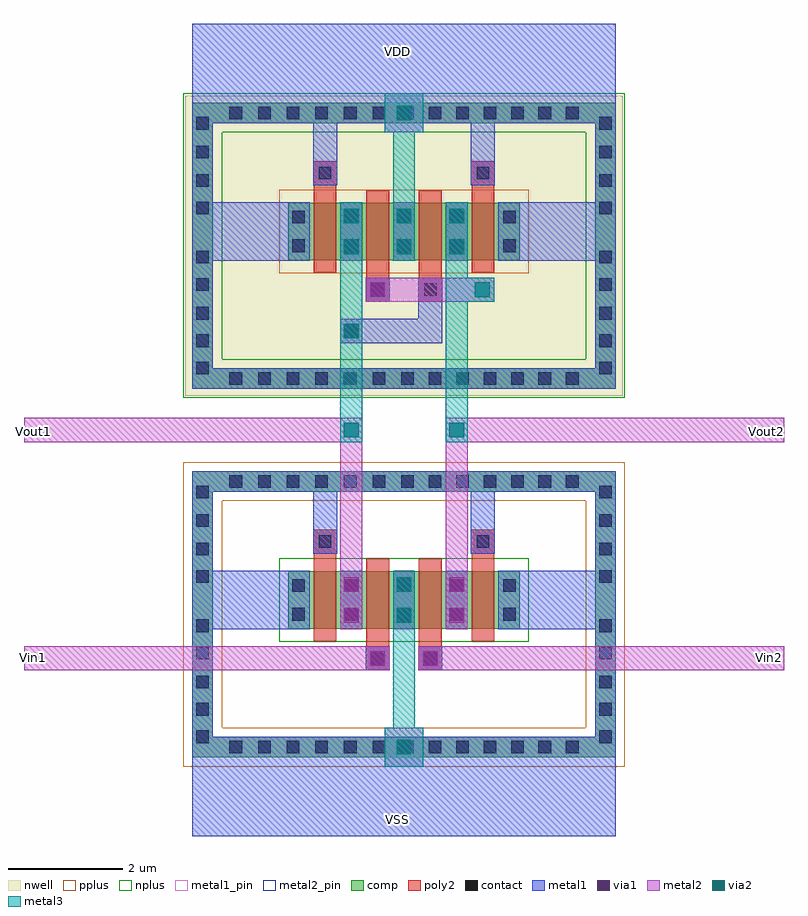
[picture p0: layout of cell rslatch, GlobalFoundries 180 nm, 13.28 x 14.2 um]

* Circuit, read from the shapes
.subckt rslatch VDD VSS Vin1 Vin2 Vout1 Vout2
XM1 Vout1 VSS VSS VSS nfet_03v3 w=1u l=0.4u
XM2 VSS Vin1 Vout1 VSS nfet_03v3 w=1u l=0.4u
XM3 Vout2 Vin2 VSS VSS nfet_03v3 w=1u l=0.4u
XM4 VSS VSS Vout2 VSS nfet_03v3 w=1u l=0.4u
XM5 Vout1 VDD VDD VDD pfet_03v3 w=1u l=0.4u
XM6 VDD Vout2 Vout1 VDD pfet_03v3 w=1u l=0.4u
XM7 Vout2 Vout1 VDD VDD pfet_03v3 w=1u l=0.4u
XM8 VDD VDD Vout2 VDD pfet_03v3 w=1u l=0.4u
.ends

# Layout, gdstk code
import gdstk
lib = gdstk.Library(unit=1e-6, precision=1e-09)
def R(c, l, rs):  # rectangles x0, y0, x1, y1
    for r in rs: c.add(gdstk.rectangle(r[:2], r[2:], *l))
def A(c, l, x, y, w, h, nx, ny, dx, dy):  # array of equal rectangles
    R(c, l, [(x+i*dx, y+j*dy, x+i*dx+w, y+j*dy+h) for i in range(nx) for j in range(ny)])
def P(c, l, *ps):  # polygons
    for p in ps: c.add(gdstk.Polygon(p, *l))
nwell = (21, 0)
comp = (22, 0)
poly2 = (30, 0)
pplus = (31, 0)
nplus = (32, 0)
contact = (33, 0)
metal1 = (34, 0)
metal1_pin = (34, 10)
via1 = (35, 0)
metal2 = (36, 0)
metal2_pin = (36, 10)
via2 = (38, 0)
metal3 = (42, 0)

pfet = lib.new_cell('pfet')
R(pfet, nwell, [(-0.43,-0.43,4.47,1.43)])
R(pfet, comp, [(0,0,4.04,1)])
A(pfet, poly2, 0.44, -0.22, 0.4, 1.44, 4, 1, 0.92, 0)
R(pfet, pplus, [(-0.16,-0.23,4.2,1.23)])
A(pfet, contact, 0.07, 0.14, 0.22, 0.22, 5, 2, 0.92, 0.5)
A(pfet, metal1, -0.01, -0.01, 0.38, 1.02, 5, 1, 0.92, 0)

nfet = lib.new_cell('nfet')
R(nfet, comp, [(0,0,4.04,1)])
A(nfet, poly2, 0.44, -0.22, 0.4, 1.44, 4, 1, 0.92, 0)
R(nfet, nplus, [(-0.16,-0.23,4.2,1.23)])
A(nfet, contact, 0.07, 0.14, 0.22, 0.22, 5, 2, 0.92, 0.5)
A(nfet, metal1, -0.01, -0.01, 0.38, 1.02, 5, 1, 0.92, 0)

rslatch = lib.new_cell('rslatch')
R(rslatch, nwell, [(16.74,-0.59,24.38,4.65)])
R(rslatch, comp, [(16.86,-6.91,17.38,-6.55), (16.86,-6.91,17.38,-6.55), (17.38,-6.91,20.86,-6.55), (17.38,-6.91,20.86,-6.55), (20.86,-6.91,21.34,-6.55), (20.86,-6.91,21.34,-6.55), (21.34,-6.91,21.82,-6.55), (21.34,-6.91,21.82,-6.55), (21.82,-6.91,22.3,-6.55), (21.82,-6.91,22.3,-6.55), (22.3,-6.91,22.46,-6.55), (22.3,-6.91,22.46,-6.55), (22.3,-6.91,22.46,-6.55), (22.3,-6.91,22.46,-6.55), (22.3,-6.91,22.78,-6.55), (22.3,-6.91,22.78,-6.55), (22.78,-6.91,23.26,-6.55), (22.78,-6.91,23.26,-6.55), (23.26,-6.91,23.74,-6.55), (23.26,-6.91,23.74,-6.55), (23.74,-6.91,24.26,-6.55), (23.74,-6.91,24.26,-6.55), (16.86,-6.55,17.22,-5.95), (23.9,-6.55,24.26,-5.95), (16.86,-5.95,17.22,-4.34), (16.86,-5.95,17.22,-4.34), (23.9,-5.95,24.26,-4.34), (23.9,-5.95,24.26,-4.34), (16.86,-4.71,17.22,-4.23), (16.86,-4.71,17.22,-4.23), (23.9,-4.71,24.26,-4.23), (23.9,-4.71,24.26,-4.23), (16.86,-4.23,17.22,-3.99), (16.86,-4.23,17.22,-3.99), (23.9,-4.23,24.26,-3.99), (23.9,-4.23,24.26,-3.99), (16.86,-3.99,17.22,-3.51), (16.86,-3.99,17.22,-3.51), (23.9,-3.99,24.26,-3.51), (23.9,-3.99,24.26,-3.51), (16.86,-3.88,17.22,-2.27), (16.86,-3.88,17.22,-2.27), (23.9,-3.88,24.26,-2.27), (23.9,-3.88,24.26,-2.27), (16.86,-2.27,17.38,-1.91), (16.86,-2.27,17.38,-1.91), (17.38,-2.27,20.86,-1.91), (17.38,-2.27,20.86,-1.91), (20.86,-2.27,21.34,-1.91), (20.86,-2.27,21.34,-1.91), (21.34,-2.27,21.82,-1.91), (21.34,-2.27,21.82,-1.91), (21.82,-2.27,22.3,-1.91), (21.82,-2.27,22.3,-1.91), (22.3,-2.27,22.46,-1.91), (22.3,-2.27,22.46,-1.91), (22.3,-2.27,22.78,-1.91), (22.3,-2.27,22.78,-1.91), (22.78,-2.27,23.26,-1.91), (22.78,-2.27,23.26,-1.91), (23.26,-2.27,23.74,-1.91), (23.26,-2.27,23.74,-1.91), (23.74,-2.27,23.9,-1.91), (23.74,-2.27,23.9,-1.91), (23.74,-2.27,24.26,-1.91), (23.74,-2.27,24.26,-1.91), (16.86,-0.47,17.38,-0.11), (16.86,-0.47,17.38,-0.11), (17.38,-0.47,20.86,-0.11), (17.38,-0.47,20.86,-0.11), (20.86,-0.47,21.34,-0.11), (20.86,-0.47,21.34,-0.11), (21.34,-0.47,21.82,-0.11), (21.34,-0.47,21.82,-0.11), (21.82,-0.47,22.3,-0.11), (21.82,-0.47,22.3,-0.11), (22.3,-0.47,22.46,-0.11), (22.3,-0.47,22.46,-0.11), (22.3,-0.47,22.46,-0.11), (22.3,-0.47,22.46,-0.11), (22.3,-0.47,22.78,-0.11), (22.3,-0.47,22.78,-0.11), (22.78,-0.47,23.26,-0.11), (22.78,-0.47,23.26,-0.11), (23.26,-0.47,23.74,-0.11), (23.26,-0.47,23.74,-0.11), (23.74,-0.47,24.26,-0.11), (23.74,-0.47,24.26,-0.11), (16.86,-0.11,17.22,0.49), (23.9,-0.11,24.26,0.49), (16.86,0.49,17.22,2.1), (16.86,0.49,17.22,2.1), (23.9,0.49,24.26,2.1), (23.9,0.49,24.26,2.1), (16.86,1.73,17.22,2.21), (16.86,1.73,17.22,2.21), (23.9,1.73,24.26,2.21), (23.9,1.73,24.26,2.21), (16.86,2.21,17.22,2.45), (16.86,2.21,17.22,2.45), (23.9,2.21,24.26,2.45), (23.9,2.21,24.26,2.45), (16.86,2.45,17.22,2.93), (16.86,2.45,17.22,2.93), (23.9,2.45,24.26,2.93), (23.9,2.45,24.26,2.93), (16.86,2.56,17.22,4.17), (16.86,2.56,17.22,4.17), (23.9,2.56,24.26,4.17), (23.9,2.56,24.26,4.17), (16.86,4.17,17.38,4.53), (16.86,4.17,17.38,4.53), (17.38,4.17,20.86,4.53), (17.38,4.17,20.86,4.53), (20.86,4.17,21.34,4.53), (20.86,4.17,21.34,4.53), (21.34,4.17,21.82,4.53), (21.34,4.17,21.82,4.53), (21.82,4.17,22.3,4.53), (21.82,4.17,22.3,4.53), (22.3,4.17,22.46,4.53), (22.3,4.17,22.46,4.53), (22.3,4.17,22.78,4.53), (22.3,4.17,22.78,4.53), (22.78,4.17,23.26,4.53), (22.78,4.17,23.26,4.53), (23.26,4.17,23.74,4.53), (23.26,4.17,23.74,4.53), (23.74,4.17,23.9,4.53), (23.74,4.17,23.9,4.53), (23.74,4.17,24.26,4.53), (23.74,4.17,24.26,4.53)])
R(rslatch, poly2, [(19.89,-5.39,20.31,-4.97), (19.89,-5.39,20.31,-4.97), (20.81,-5.39,21.23,-4.97), (20.81,-5.39,21.23,-4.97), (19.9,-4.97,20.3,-4.88), (20.82,-4.97,21.22,-4.88), (18.98,-3.44,19.38,-3.35), (21.74,-3.44,22.14,-3.35), (18.97,-3.35,19.39,-2.93), (18.97,-3.35,19.39,-2.93), (21.73,-3.35,22.15,-2.93), (21.73,-3.35,22.15,-2.93), (19.89,1.05,20.31,1.47), (19.89,1.05,20.31,1.47), (20.81,1.05,21.23,1.47), (20.81,1.05,21.23,1.47), (19.9,1.47,20.3,1.56), (20.82,1.47,21.22,1.56), (18.98,3,19.38,3.09), (21.74,3,22.14,3.09), (18.97,3.09,19.39,3.51), (18.97,3.09,19.39,3.51), (21.73,3.09,22.15,3.51), (21.73,3.09,22.15,3.51)])
R(rslatch, pplus, [(16.7,-7.07,17.38,-6.47), (17.38,-7.07,22.46,-6.39), (17.38,-7.07,22.46,-6.39), (22.46,-7.07,23.74,-6.39), (23.74,-7.07,24.42,-6.47), (16.7,-6.47,17.38,-1.75), (16.7,-6.47,17.38,-1.75), (23.74,-6.47,24.42,-1.75), (23.74,-6.47,24.42,-1.75), (17.38,-2.43,22.46,-1.75), (17.38,-2.43,22.46,-1.75), (22.46,-2.43,23.74,-1.75)])
R(rslatch, nplus, [(16.7,-0.63,17.38,-0.03), (17.38,-0.63,22.46,0.05), (22.46,-0.63,23.74,0.05), (23.74,-0.63,24.42,-0.03), (16.7,-0.03,17.38,4.69), (23.74,-0.03,24.42,4.69), (17.38,4.01,22.46,4.69), (22.46,4.01,23.74,4.69)])
A(rslatch, contact, 16.93, -6.66, 0.22, 0.22, 1, 3, 0, 0.48)
A(rslatch, contact, 23.97, -6.66, 0.22, 0.22, 1, 3, 0, 0.48)
A(rslatch, contact, 16.93, -0.22, 0.22, 0.22, 1, 3, 0, 0.48)
A(rslatch, contact, 23.97, -0.22, 0.22, 0.22, 1, 3, 0, 0.48)
R(rslatch, contact, [(17.51,-6.84,17.73,-6.62), (17.51,-6.84,17.73,-6.62), (18.01,-6.84,18.23,-6.62), (18.01,-6.84,18.23,-6.62), (18.51,-6.84,18.73,-6.62), (18.51,-6.84,18.73,-6.62), (19.01,-6.84,19.23,-6.62), (19.01,-6.84,19.23,-6.62), (19.51,-6.84,19.73,-6.62), (19.51,-6.84,19.73,-6.62), (20.01,-6.84,20.23,-6.62), (20.01,-6.84,20.23,-6.62), (20.51,-6.84,20.73,-6.62), (20.51,-6.84,20.73,-6.62), (20.99,-6.84,21.21,-6.62), (20.99,-6.84,21.21,-6.62), (21.47,-6.84,21.69,-6.62), (21.47,-6.84,21.69,-6.62), (21.95,-6.84,22.17,-6.62), (21.95,-6.84,22.17,-6.62), (22.43,-6.84,22.65,-6.62), (22.43,-6.84,22.65,-6.62), (22.91,-6.84,23.13,-6.62), (22.91,-6.84,23.13,-6.62), (23.39,-6.84,23.61,-6.62), (23.39,-6.84,23.61,-6.62), (16.93,-6.66,17.15,-6.44), (23.97,-6.66,24.19,-6.44), (16.93,-5.7,17.15,-5.48), (23.97,-5.7,24.19,-5.48), (19.99,-5.29,20.21,-5.07), (19.99,-5.29,20.21,-5.07), (20.91,-5.29,21.13,-5.07), (20.91,-5.29,21.13,-5.07), (16.93,-5.2,17.15,-4.98), (16.93,-5.2,17.15,-4.98), (23.97,-5.2,24.19,-4.98), (23.97,-5.2,24.19,-4.98), (16.93,-4.72,17.15,-4.5), (16.93,-4.72,17.15,-4.5), (23.97,-4.72,24.19,-4.5), (23.97,-4.72,24.19,-4.5), (16.93,-3.86,17.15,-3.64), (16.93,-3.86,17.15,-3.64), (23.97,-3.86,24.19,-3.64), (23.97,-3.86,24.19,-3.64), (16.93,-3.38,17.15,-3.16), (16.93,-3.38,17.15,-3.16), (23.97,-3.38,24.19,-3.16), (23.97,-3.38,24.19,-3.16), (19.07,-3.25,19.29,-3.03), (19.07,-3.25,19.29,-3.03), (21.83,-3.25,22.05,-3.03), (21.83,-3.25,22.05,-3.03), (16.93,-2.88,17.15,-2.66), (16.93,-2.88,17.15,-2.66), (23.97,-2.88,24.19,-2.66), (23.97,-2.88,24.19,-2.66), (16.93,-2.38,17.15,-2.16), (16.93,-2.38,17.15,-2.16), (23.97,-2.38,24.19,-2.16), (23.97,-2.38,24.19,-2.16), (17.51,-2.2,17.73,-1.98), (17.51,-2.2,17.73,-1.98), (18.01,-2.2,18.23,-1.98), (18.01,-2.2,18.23,-1.98), (18.51,-2.2,18.73,-1.98), (18.51,-2.2,18.73,-1.98), (19.01,-2.2,19.23,-1.98), (19.01,-2.2,19.23,-1.98), (19.51,-2.2,19.73,-1.98), (19.51,-2.2,19.73,-1.98), (20.01,-2.2,20.23,-1.98), (20.01,-2.2,20.23,-1.98), (20.51,-2.2,20.73,-1.98), (20.51,-2.2,20.73,-1.98), (20.99,-2.2,21.21,-1.98), (20.99,-2.2,21.21,-1.98), (21.47,-2.2,21.69,-1.98), (21.47,-2.2,21.69,-1.98), (21.95,-2.2,22.17,-1.98), (21.95,-2.2,22.17,-1.98), (22.43,-2.2,22.65,-1.98), (22.43,-2.2,22.65,-1.98), (22.91,-2.2,23.13,-1.98), (22.91,-2.2,23.13,-1.98), (23.39,-2.2,23.61,-1.98), (23.39,-2.2,23.61,-1.98), (17.51,-0.4,17.73,-0.18), (17.51,-0.4,17.73,-0.18), (18.01,-0.4,18.23,-0.18), (18.01,-0.4,18.23,-0.18), (18.51,-0.4,18.73,-0.18), (18.51,-0.4,18.73,-0.18), (19.01,-0.4,19.23,-0.18), (19.01,-0.4,19.23,-0.18), (19.51,-0.4,19.73,-0.18), (19.51,-0.4,19.73,-0.18), (20.01,-0.4,20.23,-0.18), (20.01,-0.4,20.23,-0.18), (20.51,-0.4,20.73,-0.18), (20.51,-0.4,20.73,-0.18), (20.99,-0.4,21.21,-0.18), (20.99,-0.4,21.21,-0.18), (21.47,-0.4,21.69,-0.18), (21.47,-0.4,21.69,-0.18), (21.95,-0.4,22.17,-0.18), (21.95,-0.4,22.17,-0.18), (22.43,-0.4,22.65,-0.18), (22.43,-0.4,22.65,-0.18), (22.91,-0.4,23.13,-0.18), (22.91,-0.4,23.13,-0.18), (23.39,-0.4,23.61,-0.18), (23.39,-0.4,23.61,-0.18), (16.93,-0.22,17.15,0), (23.97,-0.22,24.19,0), (16.93,0.74,17.15,0.96), (23.97,0.74,24.19,0.96), (19.99,1.15,20.21,1.37), (19.99,1.15,20.21,1.37), (20.91,1.15,21.13,1.37), (20.91,1.15,21.13,1.37), (16.93,1.24,17.15,1.46), (16.93,1.24,17.15,1.46), (23.97,1.24,24.19,1.46), (23.97,1.24,24.19,1.46), (16.93,1.72,17.15,1.94), (16.93,1.72,17.15,1.94), (23.97,1.72,24.19,1.94), (23.97,1.72,24.19,1.94), (16.93,2.58,17.15,2.8), (16.93,2.58,17.15,2.8), (23.97,2.58,24.19,2.8), (23.97,2.58,24.19,2.8), (16.93,3.06,17.15,3.28), (16.93,3.06,17.15,3.28), (23.97,3.06,24.19,3.28), (23.97,3.06,24.19,3.28), (19.07,3.19,19.29,3.41), (19.07,3.19,19.29,3.41), (21.83,3.19,22.05,3.41), (21.83,3.19,22.05,3.41), (16.93,3.56,17.15,3.78), (16.93,3.56,17.15,3.78), (23.97,3.56,24.19,3.78), (23.97,3.56,24.19,3.78), (16.93,4.06,17.15,4.28), (16.93,4.06,17.15,4.28), (23.97,4.06,24.19,4.28), (23.97,4.06,24.19,4.28), (17.51,4.24,17.73,4.46), (17.51,4.24,17.73,4.46), (18.01,4.24,18.23,4.46), (18.01,4.24,18.23,4.46), (18.51,4.24,18.73,4.46), (18.51,4.24,18.73,4.46), (19.01,4.24,19.23,4.46), (19.01,4.24,19.23,4.46), (19.51,4.24,19.73,4.46), (19.51,4.24,19.73,4.46), (20.01,4.24,20.23,4.46), (20.01,4.24,20.23,4.46), (20.51,4.24,20.73,4.46), (20.51,4.24,20.73,4.46), (20.99,4.24,21.21,4.46), (20.99,4.24,21.21,4.46), (21.47,4.24,21.69,4.46), (21.47,4.24,21.69,4.46), (21.95,4.24,22.17,4.46), (21.95,4.24,22.17,4.46), (22.43,4.24,22.65,4.46), (22.43,4.24,22.65,4.46), (22.91,4.24,23.13,4.46), (22.91,4.24,23.13,4.46), (23.39,4.24,23.61,4.46), (23.39,4.24,23.61,4.46)])
R(rslatch, metal1, [(16.86,-8.29,24.26,-6.91), (16.86,-6.91,17.38,-6.55), (16.86,-6.91,17.38,-6.55), (17.38,-6.91,20.86,-6.55), (17.38,-6.91,20.86,-6.55), (20.86,-6.91,21.34,-6.55), (20.86,-6.91,21.34,-6.55), (21.34,-6.91,21.82,-6.55), (21.34,-6.91,21.82,-6.55), (21.82,-6.91,22.3,-6.55), (21.82,-6.91,22.3,-6.55), (22.3,-6.91,22.78,-6.55), (22.3,-6.91,22.78,-6.55), (22.3,-6.91,22.46,-6.55), (22.3,-6.91,22.46,-6.55), (22.3,-6.91,22.46,-6.55), (22.3,-6.91,22.46,-6.55), (22.78,-6.91,23.26,-6.55), (22.78,-6.91,23.26,-6.55), (23.26,-6.91,23.74,-6.55), (23.26,-6.91,23.74,-6.55), (23.74,-6.91,24.26,-6.55), (23.74,-6.91,24.26,-6.55), (16.86,-6.55,17.22,-5.95), (23.9,-6.55,24.26,-5.95), (16.86,-5.95,17.22,-4.34), (16.86,-5.95,17.22,-4.34), (23.9,-5.95,24.26,-4.34), (23.9,-5.95,24.26,-4.34), (19.89,-5.39,20.31,-4.97), (19.89,-5.39,20.31,-4.97), (20.81,-5.39,21.23,-4.97), (20.81,-5.39,21.23,-4.97), (16.86,-4.71,17.22,-4.23), (16.86,-4.71,17.22,-4.23), (23.9,-4.71,24.26,-4.23), (23.9,-4.71,24.26,-4.23), (17.22,-4.67,18.53,-3.65), (22.59,-4.67,23.9,-3.65), (16.86,-4.23,17.22,-3.99), (16.86,-4.23,17.22,-3.99), (23.9,-4.23,24.26,-3.99), (23.9,-4.23,24.26,-3.99), (16.86,-3.99,17.22,-3.51), (16.86,-3.99,17.22,-3.51), (23.9,-3.99,24.26,-3.51), (23.9,-3.99,24.26,-3.51), (16.86,-3.88,17.22,-2.27), (16.86,-3.88,17.22,-2.27), (23.9,-3.88,24.26,-2.27), (23.9,-3.88,24.26,-2.27), (18.97,-3.35,19.39,-2.93), (18.97,-3.35,19.39,-2.93), (21.73,-3.35,22.15,-2.93), (21.73,-3.35,22.15,-2.93), (18.97,-2.93,19.39,-2.27), (21.73,-2.93,22.15,-2.27), (16.86,-2.27,17.38,-1.91), (16.86,-2.27,17.38,-1.91), (17.38,-2.27,20.86,-1.91), (17.38,-2.27,20.86,-1.91), (20.86,-2.27,21.34,-1.91), (20.86,-2.27,21.34,-1.91), (21.34,-2.27,21.82,-1.91), (21.34,-2.27,21.82,-1.91), (21.82,-2.27,22.3,-1.91), (21.82,-2.27,22.3,-1.91), (22.3,-2.27,22.78,-1.91), (22.3,-2.27,22.78,-1.91), (22.3,-2.27,22.46,-1.91), (22.3,-2.27,22.46,-1.91), (22.78,-2.27,23.26,-1.91), (22.78,-2.27,23.26,-1.91), (23.26,-2.27,23.74,-1.91), (23.26,-2.27,23.74,-1.91), (23.74,-2.27,23.9,-1.91), (23.74,-2.27,23.9,-1.91), (23.74,-2.27,24.26,-1.91), (23.74,-2.27,24.26,-1.91), (16.86,-0.47,17.38,-0.11), (16.86,-0.47,17.38,-0.11), (17.38,-0.47,20.86,-0.11), (17.38,-0.47,20.86,-0.11), (20.86,-0.47,21.34,-0.11), (20.86,-0.47,21.34,-0.11), (21.34,-0.47,21.82,-0.11), (21.34,-0.47,21.82,-0.11), (21.82,-0.47,22.3,-0.11), (21.82,-0.47,22.3,-0.11), (22.3,-0.47,22.78,-0.11), (22.3,-0.47,22.78,-0.11), (22.3,-0.47,22.46,-0.11), (22.3,-0.47,22.46,-0.11), (22.3,-0.47,22.46,-0.11), (22.3,-0.47,22.46,-0.11), (22.78,-0.47,23.26,-0.11), (22.78,-0.47,23.26,-0.11), (23.26,-0.47,23.74,-0.11), (23.26,-0.47,23.74,-0.11), (23.74,-0.47,24.26,-0.11), (23.74,-0.47,24.26,-0.11), (16.86,-0.11,17.22,0.49), (23.9,-0.11,24.26,0.49), (19.45,0.33,20.81,0.75), (20.81,0.33,21.23,1.05), (16.86,0.49,17.22,2.1), (16.86,0.49,17.22,2.1), (23.9,0.49,24.26,2.1), (23.9,0.49,24.26,2.1), (19.89,1.05,20.31,1.47), (19.89,1.05,20.31,1.47), (20.81,1.05,21.23,1.47), (20.81,1.05,21.23,1.47), (16.86,1.73,17.22,2.21), (16.86,1.73,17.22,2.21), (23.9,1.73,24.26,2.21), (23.9,1.73,24.26,2.21), (17.22,1.77,18.53,2.79), (22.59,1.77,23.9,2.79), (16.86,2.21,17.22,2.45), (16.86,2.21,17.22,2.45), (23.9,2.21,24.26,2.45), (23.9,2.21,24.26,2.45), (16.86,2.45,17.22,2.93), (16.86,2.45,17.22,2.93), (23.9,2.45,24.26,2.93), (23.9,2.45,24.26,2.93), (16.86,2.56,17.22,4.17), (16.86,2.56,17.22,4.17), (23.9,2.56,24.26,4.17), (23.9,2.56,24.26,4.17), (18.97,3.09,19.39,3.51), (18.97,3.09,19.39,3.51), (21.73,3.09,22.15,3.51), (21.73,3.09,22.15,3.51), (18.97,3.51,19.39,4.17), (21.73,3.51,22.15,4.17), (16.86,4.17,17.38,4.53), (16.86,4.17,17.38,4.53), (17.38,4.17,20.86,4.53), (17.38,4.17,20.86,4.53), (20.86,4.17,21.34,4.53), (20.86,4.17,21.34,4.53), (21.34,4.17,21.82,4.53), (21.34,4.17,21.82,4.53), (21.82,4.17,22.3,4.53), (21.82,4.17,22.3,4.53), (22.3,4.17,22.78,4.53), (22.3,4.17,22.78,4.53), (22.3,4.17,22.46,4.53), (22.3,4.17,22.46,4.53), (22.78,4.17,23.26,4.53), (22.78,4.17,23.26,4.53), (23.26,4.17,23.74,4.53), (23.26,4.17,23.74,4.53), (23.74,4.17,23.9,4.53), (23.74,4.17,23.9,4.53), (23.74,4.17,24.26,4.53), (23.74,4.17,24.26,4.53), (16.86,4.53,24.26,5.91)])
R(rslatch, metal1_pin, [(20.39,-8.03,20.52,-7.94), (20.39,5.38,20.52,5.47)])
A(rslatch, via1, 19.51, -4.56, 0.26, 0.26, 3, 2, 0.92, 0.54)
A(rslatch, via1, 19.51, 1.88, 0.26, 0.26, 3, 2, 0.92, 0.54)
R(rslatch, via1, [(20.43,-6.86,20.69,-6.6), (19.97,-5.31,20.23,-5.05), (20.89,-5.31,21.15,-5.05), (19.51,0.41,19.77,0.67), (19.97,1.13,20.23,1.39), (20.43,4.22,20.69,4.48)])
A(rslatch, metal2, 19.45, -4.67, 0.38, 1.02, 3, 2, 0.92, 6.44)
R(rslatch, metal2, [(20.22,-7.07,20.9,-6.39), (13.92,-5.39,19.89,-4.97), (19.89,-5.39,20.31,-4.97), (20.81,-5.39,21.23,-4.97), (21.23,-5.39,27.2,-4.97), (19.45,0.33,19.83,0.75), (19.89,1.05,20.31,1.47), (20.31,1.05,21.72,1.47), (21.72,1.05,22.14,1.47), (20.22,4.01,20.9,4.69)])
P(rslatch, metal2, [(19.45,-3.65),(19.45,-1.4),(13.92,-1.4),(13.92,-0.98),(19.83,-0.98),(19.83,-3.65)],
  [(21.29,-3.65),(21.29,-0.98),(27.2,-0.98),(27.2,-1.4),(21.67,-1.4),(21.67,-3.65)])
R(rslatch, metal2_pin, [(14.06,-5.2,14.16,-5.12), (26.92,-5.2,27.02,-5.12), (14.06,-1.25,14.16,-1.17), (26.87,-1.25,26.97,-1.17)])
A(rslatch, via2, 19.51, 1.88, 0.26, 0.26, 3, 2, 0.92, 0.54)
R(rslatch, via2, [(20.43,-6.86,20.69,-6.6), (20.43,-4.56,20.69,-4.3), (20.43,-4.02,20.69,-3.76), (19.51,-1.32,19.77,-1.06), (21.35,-1.32,21.61,-1.06), (19.51,0.41,19.77,0.67), (21.8,1.13,22.06,1.39), (20.43,4.22,20.69,4.48)])
A(rslatch, metal3, 19.45, 1.77, 0.38, 1.02, 3, 1, 0.92, 0)
R(rslatch, metal3, [(20.22,-7.07,20.9,-6.39), (20.37,-6.39,20.75,-4.67), (20.37,-4.67,20.75,-3.65), (19.45,-1.4,19.83,1.77), (21.29,-1.4,21.67,1.77), (21.67,1.05,22.14,1.47), (20.37,2.79,20.75,4.01), (20.22,4.01,20.9,4.69)])
rslatch.add(gdstk.Reference(pfet, (18.54,2.78), x_reflection=True))
rslatch.add(gdstk.Reference(nfet, (18.54,-3.66), x_reflection=True))
rslatch.add(gdstk.Label('VDD', (20.44,5.42), layer=34, texttype=10))
rslatch.add(gdstk.Label('VSS', (20.44,-7.99), layer=34, texttype=10))
rslatch.add(gdstk.Label('Vout1', (14.09,-1.22), layer=36, texttype=10))
rslatch.add(gdstk.Label('Vout2', (26.9,-1.22), layer=36, texttype=10))
rslatch.add(gdstk.Label('Vin1', (14.09,-5.17), layer=36, texttype=10))
rslatch.add(gdstk.Label('Vin2', (26.95,-5.17), layer=36, texttype=10))

lib.write_gds('rslatch.gds')
